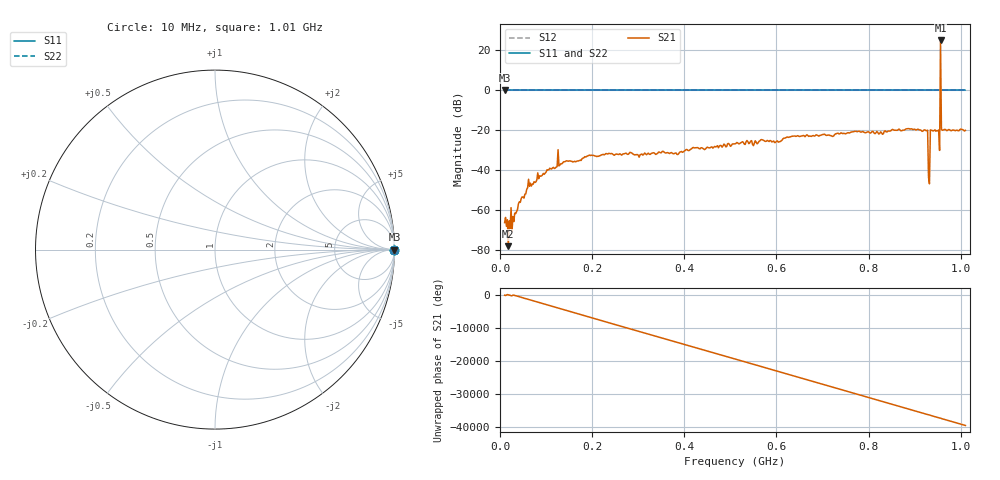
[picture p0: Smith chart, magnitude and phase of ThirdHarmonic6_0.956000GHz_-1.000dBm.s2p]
! 8/16/2025 7:00:44 AM
! C:\ANRITSUVNA\TEMP\TEMP.S2P
! CHANNEL.1
! TR.MEASUREMENT
! RAW.DATA
! RF.CORRECTION.OFF
! AVERAGING.OFF
! IF.BANDWIDTH: 5KHZ
! SWEEPTYPE:  FREQ.SWEEP(Linear)
! Reference Plane Port Info
! PORT:  PORT1  PORT2
! DISTANCE:  0  m  0  m
! TIME:  0  s  0  s
! PHASE.OFFSET:  0  deg.  0  deg.
! LOSS:  0  dB  0  dB
! REF.LOSS:  0  dB  0  dB
! REF.FREQ:  0  Hz  0  Hz
! Power Info
! POWER:  -20  dBm  -20  dBm
! EFF.POWER:  -20  dBm  -20  dBm
! SOURCE.ATTEN:  0  dB  0  dB
! TEST.ATTEN:  0  dB  0  dB
# GHZ S RI R 50.0
! FREQ.GHZ  S11RE  S11IM  S21RE  S21IM  S12RE  S12IM  S22RE  S22IM
!; PortSelection: Port_12
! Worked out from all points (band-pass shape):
!   501 points, 10 MHz to 1.01 GHz, reference 50 ohm
!   highest |S21| = 24.88 dB at 956 MHz (marker M1); lowest = -78.3 dB at 18 MHz (marker M2)
!   |S21| within 3 dB of the highest: 955.8912 MHz to 956.1344 MHz (243.1 kHz wide, 0.0254 % of centre)
!   lowest |S11| = 0.0 dB at 10 MHz (marker M3)
!   |S11| at or under -10 dB: nowhere
!   |S22| runs from 0.0 to 0.0 dB; largest |S21 - S12| = 18
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0.01  1 0  0.000308 0.00036  1 0  1 0
0.018  1 0  -0.00012 -1.92e-05  1 0  1 0
0.062  1 0  -0.00302 -0.00493  1 0  1 0
0.13  1 0  0.011 -0.00714  1 0  1 0
0.178  1 0  -0.0189 -0.000582  1 0  1 0
0.234  1 0  0.00704 0.0239  1 0  1 0
0.344  1 0  0.0249 -0.0122  1 0  1 0
0.384  1 0  -0.0235 0.0067  1 0  1 0
0.51  1 0  -0.0382 0.0232  1 0  1 0
0.678  1 0  -0.0545 -0.0461  1 0  1 0
0.844  1 0  0.0939 0.00448  1 0  1 0
0.924  1 0  0.0961 0.00929  1 0  1 0
0.928  1 0  -0.0892 -0.0419  1 0  1 0
0.934  1 0  0.079 -0.0613  1 0  1 0
0.938  1 0  -0.0909 0.0329  1 0  1 0
0.948  1 0  -0.0466 0.0845  1 0  1 0
0.95  1 0  0.0732 0.0594  1 0  1 0
0.952  1 0  0.0752 -0.0654  1 0  1 0
0.956  1 0  -14.67 -9.63  1 0  1 0
0.96  1 0  0.0978 -0.00723  1 0  1 0
0.962  1 0  0.00911 -0.0991  1 0  1 0
1.01  1 0  -0.0724 0.0653  1 0  1 0
